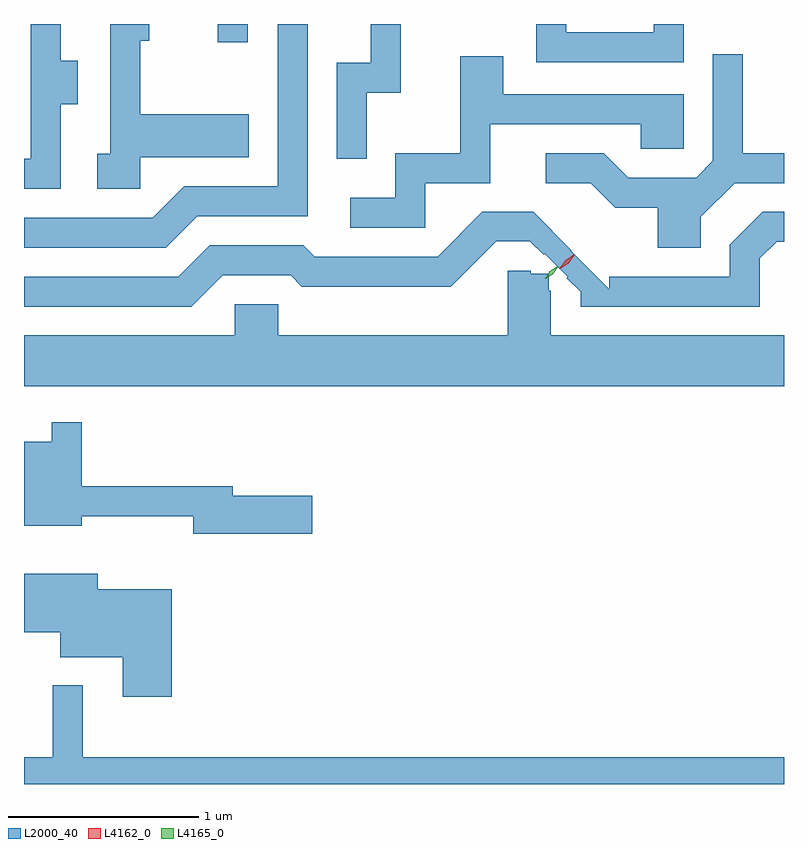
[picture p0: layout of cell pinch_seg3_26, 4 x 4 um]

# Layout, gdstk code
import gdstk
lib = gdstk.Library(unit=1e-6, precision=1e-09)
def R(c, l, rs):  # rectangles x0, y0, x1, y1
    for r in rs: c.add(gdstk.rectangle(r[:2], r[2:], *l))
def P(c, l, *ps):  # polygons
    for p in ps: c.add(gdstk.Polygon(p, *l))
L2000_40 = (2000, 40)
L4162_0 = (4162, 0)
L4165_0 = (4165, 0)

pinch_seg3_26 = lib.new_cell('pinch_seg3_26')
R(pinch_seg3_26, L2000_40, [(1880.396,1183.328,1880.554,1183.423)])
P(pinch_seg3_26, L2000_40, [(1879.989,1182.721),(1880.559,1182.721),(1880.559,1182.949),(1879.989,1182.949),(1879.989,1183.336),(1880.034,1183.336),(1880.034,1183.423),(1879.831,1183.423),(1879.831,1182.739),(1879.761,1182.739),(1879.761,1182.556),(1879.989,1182.556)],
  [(1880.287,1182.411),(1880.869,1182.411),(1880.869,1183.423),(1880.711,1183.423),(1880.711,1182.569),(1880.219,1182.569),(1880.054,1182.404),(1879.376,1182.404),(1879.376,1182.246),(1880.122,1182.246)],
  [(1879.569,1183.001),(1879.659,1183.001),(1879.659,1183.229),(1879.569,1183.229),(1879.569,1183.423),(1879.411,1183.423),(1879.411,1182.714),(1879.376,1182.714),(1879.376,1182.556),(1879.569,1182.556)],
  [(1882.849,1183.423),(1882.691,1183.423),(1882.691,1183.379),(1882.229,1183.379),(1882.229,1183.423),(1882.071,1183.423),(1882.071,1183.221),(1882.849,1183.221)],
  [(1881.179,1183.061),(1881.359,1183.061),(1881.359,1183.423),(1881.201,1183.423),(1881.201,1183.219),(1881.021,1183.219),(1881.021,1182.713),(1881.179,1182.713)],
  [(1882.939,1182.409),(1883.117,1182.586),(1883.376,1182.586),(1883.376,1182.744),(1883.159,1182.744),(1883.159,1183.263),(1883.001,1183.263),(1883.001,1182.702),(1882.914,1182.614),(1882.557,1182.614),(1882.427,1182.744),(1882.123,1182.744),(1882.123,1182.586),(1882.359,1182.586),(1882.489,1182.456),(1882.711,1182.456),(1882.711,1182.246),(1882.939,1182.246)],
  [(1881.489,1182.586),(1881.829,1182.586),(1881.829,1182.896),(1882.621,1182.896),(1882.621,1182.766),(1882.849,1182.766),(1882.849,1183.054),(1881.899,1183.054),(1881.899,1183.254),(1881.671,1183.254),(1881.671,1182.744),(1881.331,1182.744),(1881.331,1182.509),(1881.093,1182.509),(1881.093,1182.351),(1881.489,1182.351)],
  [(1880.422,1182.101),(1880.779,1182.101),(1880.839,1182.041),(1881.622,1182.041),(1881.861,1182.28),(1882.039,1182.28),(1882.111,1182.208),(1882.117,1182.214),(1882.239,1182.092),(1882.233,1182.086),(1882.305,1182.014),(1882.305,1181.936),(1883.249,1181.936),(1883.249,1182.189),(1883.337,1182.276),(1883.376,1182.276),(1883.376,1182.434),(1883.264,1182.434),(1883.091,1182.262),(1883.091,1182.094),(1882.455,1182.094),(1882.455,1182.028),(1882.254,1182.229),(1882.257,1182.232),(1882.055,1182.434),(1881.789,1182.434),(1881.554,1182.199),(1880.907,1182.199),(1880.847,1182.259),(1880.354,1182.259),(1880.189,1182.094),(1879.376,1182.094),(1879.376,1181.936),(1880.257,1181.936)],
  [(1883.376,1181.784),(1882.149,1181.784),(1882.149,1182.02),(1882.138,1182.02),(1882.138,1182.108),(1882.042,1182.108),(1882.042,1182.124),(1881.921,1182.124),(1881.921,1181.784),(1880.714,1181.784),(1880.714,1181.949),(1880.486,1181.949),(1880.486,1181.784),(1879.376,1181.784),(1879.376,1181.516),(1883.376,1181.516)],
  [(1880.894,1180.939),(1880.474,1180.939),(1880.474,1180.989),(1879.679,1180.989),(1879.679,1181.328),(1879.521,1181.328),(1879.521,1181.224),(1879.376,1181.224),(1879.376,1180.781),(1879.679,1180.781),(1879.679,1180.831),(1880.266,1180.831),(1880.266,1180.741),(1880.894,1180.741)],
  [(1880.154,1180.449),(1879.764,1180.449),(1879.764,1180.529),(1879.376,1180.529),(1879.376,1180.221),(1879.566,1180.221),(1879.566,1180.091),(1879.896,1180.091),(1879.896,1179.881),(1880.154,1179.881)],
  [(1883.376,1179.564),(1879.684,1179.564),(1879.684,1179.943),(1879.526,1179.943),(1879.526,1179.564),(1879.376,1179.564),(1879.376,1179.423),(1883.376,1179.423)])
P(pinch_seg3_26, L4162_0, [(1882.194,1182.135),(1882.194,1182.136),(1882.227,1182.18),(1882.272,1182.21),(1882.273,1182.21),(1882.273,1182.21),(1882.24,1182.166),(1882.195,1182.135)],
  [(1882.199,1182.137),(1882.199,1182.138),(1882.228,1182.178),(1882.271,1182.206),(1882.271,1182.206),(1882.271,1182.205),(1882.242,1182.164),(1882.2,1182.137)])
P(pinch_seg3_26, L4165_0, [(1882.12,1182.083),(1882.12,1182.084),(1882.146,1182.121),(1882.184,1182.145),(1882.185,1182.145),(1882.185,1182.144),(1882.159,1182.107),(1882.121,1182.083)],
  [(1882.122,1182.085),(1882.122,1182.086),(1882.144,1182.122),(1882.18,1182.145),(1882.18,1182.145),(1882.18,1182.144),(1882.158,1182.108),(1882.123,1182.085)])

lib.write_gds('pinch_seg3_26.gds')
